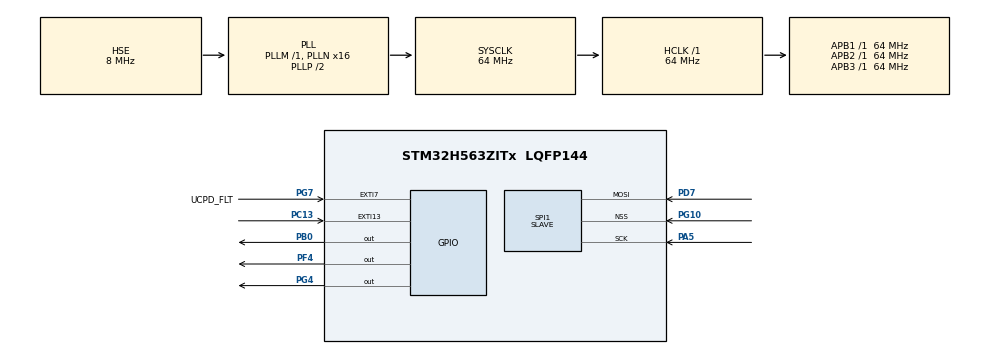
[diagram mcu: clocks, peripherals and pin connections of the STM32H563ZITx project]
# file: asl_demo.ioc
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BOOTPATH.BootPathName=LEGACY
BOOTPATH.UserSelectedBootPath=LEGACY
CORTEX_M33_NS.userName=CORTEX_M33
GPDMA1.DESTINC_GPDMACH0=DMA_DINC_INCREMENTED
GPDMA1.IPHANDLE_GPDMACH0-SIMPLEREQUEST_GPDMACH0=__NULL
GPDMA1.PRIORITY_GPDMACH0=DMA_LOW_PRIORITY_HIGH_WEIGHT
GPDMA1.REQUEST_GPDMACH0=GPDMA1_REQUEST_SPI1_RX
Mcu.Family=STM32H5
Mcu.Name=STM32H563ZITx
Mcu.Package=LQFP144
NVIC.GPDMA1_Channel0_IRQn=true\:0\:0\:false\:false\:true\:false\:true\:true
NVIC.PriorityGroup=NVIC_PRIORITYGROUP_4
PA1.GPIO_Label=RMII_REF_CLK
PA1.GPIO_Mode=GPIO_MODE_AF_PP
PA1.GPIO_PuPd=GPIO_NOPULL
PA1.GPIO_Speed=GPIO_SPEED_FREQ_LOW
PA1.Signal=ETH_REF_CLK
PA11.GPIO_Label=USB_FS_N
PA11.Signal=USB_DM
PA12.GPIO_Label=USB_FS_P
PA12.Signal=USB_DP
PA13(JTMS/SWDIO).GPIO_Label=SWDIO
PA13(JTMS/SWDIO).Signal=DEBUG_JTMS-SWDIO
PA14(JTCK/SWCLK).GPIO_Label=SWCLK
PA14(JTCK/SWCLK).Signal=DEBUG_JTCK-SWCLK
PA15(JTDI).GPIO_Label=T_JTDI
PA15(JTDI).Signal=DEBUG_JTDI
PA2.GPIO_Label=RMII_MDIO
PA2.GPIO_Mode=GPIO_MODE_AF_PP
PA2.GPIO_PuPd=GPIO_NOPULL
PA2.GPIO_Speed=GPIO_SPEED_FREQ_LOW
PA2.Signal=ETH_MDIO
PA4.GPIO_Label=VBUS_SENSE
PA4.Signal=ADCx_INP18
PA5.Mode=RX_Only_Simplex_Unidirect_Slave
PA5.Signal=SPI1_SCK
PA7.GPIO_Label=RMII_CRS_DV
PA7.GPIO_Mode=GPIO_MODE_AF_PP
PA7.GPIO_PuPd=GPIO_NOPULL
PA7.GPIO_Speed=GPIO_SPEED_FREQ_LOW
PA7.Signal=ETH_CRS_DV
PA9.GPIO_Label=UCDP_DBn
PA9.Signal=UCPD1_DB1
PB0.Signal=GPIO_Output
PB13.GPIO_Label=UCPD_CC1
PB13.Signal=UCPD1_CC1
PB14.GPIO_Label=UCPD_CC2
PB14.Signal=UCPD1_CC2
PB15.GPIO_Label=RMII_TXD1
PB15.GPIO_Mode=GPIO_MODE_AF_PP
PB15.GPIO_PuPd=GPIO_NOPULL
PB15.GPIO_Speed=GPIO_SPEED_FREQ_LOW
PB15.Signal=ETH_TXD1
PB3(JTDO/TRACESWO).GPIO_Label=SWO
PB3(JTDO/TRACESWO).Signal=DEBUG_JTDO-SWO
PB6.GPIO_Label=ARD_D1_TX
PB6.Signal=LPUART1_TX
PB7.GPIO_Label=ARD_D0_RX
PB7.Signal=LPUART1_RX
PC1.GPIO_Label=RMII_MDC
PC1.GPIO_Mode=GPIO_MODE_AF_PP
PC1.GPIO_PuPd=GPIO_NOPULL
PC1.GPIO_Speed=GPIO_SPEED_FREQ_LOW
PC1.Signal=ETH_MDC
PC13.Signal=GPXTI13
PC14-OSC32_IN(OSC32_IN).Mode=LSE-External-Oscillator
PC14-OSC32_IN(OSC32_IN).Signal=RCC_OSC32_IN
PC15-OSC32_OUT(OSC32_OUT).Mode=LSE-External-Oscillator
PC15-OSC32_OUT(OSC32_OUT).Signal=RCC_OSC32_OUT
PC4.GPIO_Label=RMII_RXD0
PC4.GPIO_Mode=GPIO_MODE_AF_PP
PC4.GPIO_PuPd=GPIO_NOPULL
PC4.GPIO_Speed=GPIO_SPEED_FREQ_LOW
PC4.Signal=ETH_RXD0
PC5.GPIO_Label=RMII_RXD1
PC5.GPIO_Mode=GPIO_MODE_AF_PP
PC5.GPIO_PuPd=GPIO_NOPULL
PC5.GPIO_Speed=GPIO_SPEED_FREQ_LOW
PC5.Signal=ETH_RXD1
PD7.Mode=RX_Only_Simplex_Unidirect_Slave
PD7.Signal=SPI1_MOSI
PD8.Signal=USART3_TX
PD9.Signal=USART3_RX
PE2.GPIO_Label=TRACE_CK
PE2.Signal=DEBUG_TRACECLK
PE3.GPIO_Label=TRACE_D0
PE3.Signal=DEBUG_TRACED0
PE4.GPIO_Label=TRACE_D1
PE4.Signal=DEBUG_TRACED1
PE5.GPIO_Label=TRACE_D2
PE5.Signal=DEBUG_TRACED2
PE6.GPIO_Label=TRACE_D3
PE6.Signal=DEBUG_TRACED3
PF4.Signal=GPIO_Output
PG10.Mode=NSS_Signal_Hard_Input
PG10.Signal=SPI1_NSS
PG11.GPIO_Label=RMII_TXT_EN
PG11.GPIO_Mode=GPIO_MODE_AF_PP
PG11.GPIO_PuPd=GPIO_NOPULL
PG11.GPIO_Speed=GPIO_SPEED_FREQ_LOW
PG11.Signal=ETH_TX_EN
PG13.GPIO_Label=RMI_TXD0
PG13.GPIO_Mode=GPIO_MODE_AF_PP
PG13.GPIO_PuPd=GPIO_NOPULL
PG13.GPIO_Speed=GPIO_SPEED_FREQ_LOW
PG13.Signal=ETH_TXD0
PG4.Signal=GPIO_Output
PG7.GPIO_Label=UCPD_FLT
PG7.Signal=GPXTI7
PH0-OSC_IN(PH0).GPIO_Label=STLK_MCO
PH0-OSC_IN(PH0).Mode=HSE-External-Clock-Source
PH0-OSC_IN(PH0).Signal=RCC_OSC_IN
ProjectManager.HeapSize=0x200
ProjectManager.StackSize=0x400
ProjectManager.TargetToolchain=STM32CubeIDE
RCC.ADCFreq_Value=64000000
RCC.AHBFreq_Value=64000000
RCC.APB1Freq_Value=64000000
RCC.APB1TimFreq_Value=64000000
RCC.APB2Freq_Value=64000000
RCC.APB2TimFreq_Value=64000000
RCC.APB3Freq_Value=64000000
RCC.CSI_VALUE=4000000
RCC.CortexFreq_Value=64000000
RCC.EPOD_VALUE=8000000
RCC.HCLKFreq_Value=64000000
RCC.HSE_VALUE=8000000
RCC.HSI48_VALUE=48000000
RCC.HSIDiv=RCC_HSI_DIV1
RCC.HSI_VALUE=64000000
RCC.LSIRC_VALUE=32000
RCC.PLL1Q=3
RCC.PLLFRACN=0
RCC.PLLN=16
RCC.PLLSourceVirtual=RCC_PLL1_SOURCE_HSE
RCC.SYSCLKFreq_VALUE=64000000
RCC.SYSCLKSource=RCC_SYSCLKSOURCE_PLLCLK
RCC.USBFreq_Value=48000000
RCC.VCOOutputFreq_Value=128000000
SH.ADCx_INP18.0=ADC1_INP18
SPI1.CLKPolarity=SPI_POLARITY_HIGH
SPI1.DataSize=SPI_DATASIZE_8BIT
SPI1.Direction=SPI_DIRECTION_2LINES_RXONLY
SPI1.Mode=SPI_MODE_SLAVE
SPI1.VirtualNSS=VM_NSSHARD
SPI1.VirtualType=VM_SLAVE
VP_BOOTPATH_VS_BOOTPATH.Mode=BP_Activate
VP_CORTEX_M33_NS_VS_Hclk.Mode=Hclk_Mode
VP_GPDMA1_VS_GPDMACH0.Mode=SIMPLEREQUEST_GPDMACH0
VP_MEMORYMAP_VS_MEMORYMAP.Mode=CurAppReg
VP_PWR_VS_DBSignals.Mode=DisableDeadBatterySignals
VP_PWR_VS_LPOM.Mode=PowerOptimisation
VP_PWR_VS_SECSignals.Mode=Security/Privilege
board=NUCLEO-H563ZI

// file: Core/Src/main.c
/* USER CODE BEGIN Header */
/**
  ******************************************************************************
  * @file           : main.c
  * @brief          : Main program body
  ******************************************************************************
  * @attention
  *
  * Copyright (c) 2025 STMicroelectronics.
  * All rights reserved.
  *
  * This software is licensed under terms that can be found in the LICENSE file
  * in the root directory of this software component.
  * If no LICENSE file comes with this software, it is provided AS-IS.
  *
  ******************************************************************************
  */
/* USER CODE END Header */
#include "main.h"
#include "test_data.h"
#include "kiss_fftr.h"

/* USER CODE BEGIN PTD */
typedef struct coords_3D_t {
    float x;
    float y;
    float z;
} coords_3D_t;

typedef struct angle_pair_t {
    float az;
    float el;
} angle_pair_t;

/**
 * @brief this struct holds TDoA between reference mic (0th idx) and assigned mic (mix_idx);
 *        such implementation helps reducing memory cost of program
 *
 * @param tau calculated relative TDoA
 * @param mic_idx microphone index
 * @param angle_pair_idx indicates for which DoA angles pair {az, el} indeex in *all_possible_doas_lut*
 *                       this tau is relevant
 */
typedef struct tdoa_per_mic_per_doa_t {
    float tau;
    uint8_t mic_idx;
    uint16_t angle_pair_idx;
} tdoa_per_mic_per_doa_t;

/**
 * @brief enumerator used to indicate whether data acquisition from SPI was successful or not
 */
typedef enum spi_mic_acq_enum_t {
    MIC_ACQ_OK = 0,
    MIC_ACQ_ERR = 1
} spi_mic_acq_enum_t;

/* USER CODE END PTD */

/* USER CODE BEGIN PD */
#define M 16                    /* num of mics */
#define Ny 4                    /* num of mics in y column */
#define Nz 4                    /* num of mics in z row */
#define C 343                   /* speed of sound in m/s */
#define d 0.042                 /* spacing between mics */
#define F_MIN 300               /* minimum freq considered in Hz */
#define F_MAX 3000              /* minimum freq considered in Hz */
#define F_S 16000               /* incoming signal sampling rate */
#define L 1024                   /* x_m microphone's signal frame length - TO BE DETERMINED */
#define R 10                    /* angualar grid resolution in degrees */
#define AZ_LOW -90              /* min azimuth angle conidered in degrees */
#define AZ_HIGH 90              /* max azimuth angle conidered in degrees */
#define EL_LOW -45              /* min elevation angle considered in degrees */
#define EL_HIGH 45              /* max elevation angle considered in degrees */
#define PI 3.141592653589793238 /* pi approximation */
#define EPS 0.000000001           /* epsilon value for numerical stability */

#define F_NYQ (F_S / 2)                                     /* Nyquist frequency */
#define REAL_FFT_LEN ((L/2) + 1)                            /* length of the output of real-valued signal's FFT, which is of use */
#define ALL_AZIMUTHS ((AZ_HIGH - AZ_LOW)/R + 1)             /* size of azimuth grid */
#define ALL_ELEVATIONS ((EL_HIGH - EL_LOW)/R + 1)           /* size of elevation grid */
#define ALL_POSSIBLE_DOAS (ALL_AZIMUTHS * ALL_ELEVATIONS)   /* size of all DoAs grid (i.e. every possible pair of {az,el}) */

#define CIC_GAIN_F ((float) (1ULL << 30))  /* CIC has its internal gain like (RM)^N, we have (64*1)^5 = 2^30 */
/*
  CIC params: stages 5, diff delay 1, dec ratio 64
  TODO:
  - add windowing b4 fft
  - remove DC??? depends if it's zero-mean
  - add scaling down -- quantization mode: full precision
  -
*/
/* USER CODE END PD */

SPI_HandleTypeDef hspi1;
DMA_HandleTypeDef handle_GPDMA1_Channel0;

/* USER CODE BEGIN PV */
/**
 * @brief simple enum for SPI status indications
 */
enum { SPI_CPLT, SPI_BUSY } spi_status;

coords_3D_t mics_positions[M] = {
  { 0, (-2.0f)*d, 2*d }, { 0, (-2.0f)*d, d }, {  0, (-2.0f)*d, (-1.0f)*d }, {  0, (-2.0f)*d, (-2.0f)*d },
  { 0, (-1.0f)*d, 2*d }, { 0, (-1.0f)*d, d }, {  0, (-1.0f)*d, (-1.0f)*d }, {  0, (-1.0f)*d, (-2.0f)*d },
  { 0,         d, 2*d }, { 0,         d, d }, {  0,         d, (-1.0f)*d }, {  0,         d, (-2.0f)*d },
  { 0,  (2.0f)*d, 2*d }, { 0,  (2.0f)*d, d }, {  0,  (2.0f)*d, (-1.0f)*d }, {  0,  (2.0f)*d, (-2.0f)*d }
};
/**
 * @brief a look-up table storing every possible DoA as pair {az, el}
 */
static angle_pair_t all_possible_doas_lut[ALL_POSSIBLE_DOAS]; //<< 2,888 B
/**
 * @brief a look-up table storing every mic's relative TDoA for every possible DoA
 *        in relation to 0th microphone - this way we save memory in trade for slightly
 *        more calculations in the run-time
 */
static tdoa_per_mic_per_doa_t all_relative_tdoas_lut[ALL_POSSIBLE_DOAS * M]; //<< 46,208 B with padding, 40,432 B optimized

/**
 * @brief a look-up table storing every frequency bin of interest
 */
static float fft_bins_lut[REAL_FFT_LEN];//<< 2,052 B
/**
 * @brief indicators of minimum and maximum bins of FFT for freqs of interest
 */
static uint16_t fft_bin_low = 0, fft_bin_high = 0;//<< 2 * 2 B = 4 B

/**
 * @brief kiss_fft library config field, used to run FFT - this is a real-input FFT, outputs cpx
 */
kiss_fftr_cfg kissfftrcfg = NULL; //<< this is a ptr, idk how much it allocs

/**
 * @brief buffer for incoming mic data from SPI
 */
uint32_t spi_data_buff[M * L] = { 0U };
#ifndef TEST_DATA_H
/**
 * @brief preallocated buffer for incoming real signal data from mics (thru SPI)
 */
float mic_data_buff[M][L] = { 0 };//<<  65,536 B
#endif

/**
 * @brief preallocated buffer for incoming real signal data FFT
 */
static kiss_fft_cpx mic_data_fft_buff[M][REAL_FFT_LEN]; //<< 65,664 B

/**
 * @brief preallocated buffer for SRP-PHAT map (as function of DoA angles pair)
 *
 */
static float srp_phat_map_per_doa[ALL_POSSIBLE_DOAS];//<< 1,444 B

/* USER CODE END PV */

void SystemClock_Config(void);
static void MX_GPIO_Init(void);
static void MX_GPDMA1_Init(void);
static void MX_SPI1_Init(void);

/* USER CODE BEGIN 0 */
/**
 * @brief helper function for data buffer conversion process (SPI(CIC): uint32_t -> kissfft: float32_t)
 *
 */
void convert_buffer(void) {
    static int32_t tmp_24bit = 0;

    for (uint32_t l = 0U; l < L; l++) {
        for (uint32_t m = 0U; m < M; m++) {
            // spi_data_buff[m + M * l] <--> mic_data_buff[m][l]
            /* get rid of the last 8-bit marker */
            tmp_24bit = (int32_t) (spi_data_buff[m + M * l] >> 8);

            /* extend the sign of CIC sample */
            if (tmp_24bit & 0x00800000) {
                tmp_24bit |= 0xFF000000;
            }

            /* compensate the CIC gain - from vivado it seems to be not done internally */
            mic_data_buff[m][l] = ((float) tmp_24bit) / CIC_GAIN_F;
        }
    }
}

/**
 * @brief basic impl of conversion from degrees to radians
 *
 * @param arg_deg argument in degrees
 * @return float argument converted to radians
 */
static inline float deg2rad(float arg_deg) {
    return (arg_deg * (float)(PI / 180.0f));
}

/**
 * @brief basic impl of conversion from radians to degrees
 *
 * @param arg_rad argument in radians
 * @return float argument converted to degrees
 */
static inline float rad2deg(float arg_rad) {
    return (arg_rad * (float)(180.0f / PI));
}

/**
 * @brief this function prepares look-up tables: *all_possible_doas_lut* and *all_relative_tdoas_lut*
 */
static void prepare_luts(void) {
    coords_3D_t sphere_vec;
    uint16_t doa_idx = 0;
    uint32_t tdoa_idx = 0;
    uint16_t el_idx = 0;
    uint8_t mic_idx = 0;
    float az_rad = 0.0f;
    float el_rad = 0.0f;

    /* for every azimuth degree step */
    for (uint16_t az_idx = 0; az_idx < ALL_AZIMUTHS; az_idx++) {
        /* and for every elevation degree step */
        for (el_idx = 0; el_idx < ALL_ELEVATIONS; el_idx++) {
            /* define an entry in degree-grid */
            all_possible_doas_lut[doa_idx].az = (float) (AZ_LOW + (az_idx * R));
            all_possible_doas_lut[doa_idx].el = (float) (EL_LOW + (el_idx * R));

            /* Convert to radians ONCE for this DoA */
            az_rad = deg2rad(all_possible_doas_lut[doa_idx].az);
            el_rad = deg2rad(all_possible_doas_lut[doa_idx].el);

            /* 0th element is our ref, so it's zero all the time */
            all_relative_tdoas_lut[tdoa_idx].angle_pair_idx = doa_idx;
            all_relative_tdoas_lut[tdoa_idx].mic_idx = (uint8_t) 0;
            all_relative_tdoas_lut[tdoa_idx].tau = (float) 0;
            tdoa_idx++;

            /* Calculate spherical direction vector according to MATLAB convention:
             * d_hat(1) = cos(theta) * cos(phi)   where theta=elevation, phi=azimuth
             * d_hat(2) = cos(theta) * sin(phi)
             * d_hat(3) = sin(theta)
             */
            sphere_vec.x = cosf(el_rad) * cosf(az_rad);
            sphere_vec.y = cosf(el_rad) * sinf(az_rad);
            sphere_vec.z = sinf(el_rad);

            /* every other mic's relative TDoA is calculated relatively to 0th mic */
            for (mic_idx = 1; mic_idx < M; mic_idx++) {
                all_relative_tdoas_lut[tdoa_idx].angle_pair_idx = doa_idx;
                all_relative_tdoas_lut[tdoa_idx].mic_idx = mic_idx;
                all_relative_tdoas_lut[tdoa_idx].tau = (float) (
                    (sphere_vec.x * (mics_positions[mic_idx].x - mics_positions[0].x))
                  + (sphere_vec.y * (mics_positions[mic_idx].y - mics_positions[0].y))
                  + (sphere_vec.z * (mics_positions[mic_idx].z - mics_positions[0].z))
                ) / ((float) C);
                tdoa_idx++;
            }

            doa_idx++;
        }
    }

    /* prepare every FFT bin and indicators */
    fft_bin_low = 0;
    fft_bin_high = 0;

    for (uint16_t k = 0; k < REAL_FFT_LEN; k++) {
        fft_bins_lut[k] = k * ((float)F_S / (float)L);

        // Count bins below F_MIN
        if (fft_bins_lut[k] < F_MIN) {
            fft_bin_low++;
        }

        // Count bins up to AND including F_MAX
        if (fft_bins_lut[k] <= F_MAX) {
            fft_bin_high = k + 1;  // Set to NEXT index (for < comparison in loop)
        }
    }

    // Debug output
    // printf("FFT bins: low=%d (%.1f Hz), high=%d (%.1f Hz)\n",
    //        fft_bin_low, fft_bins_lut[fft_bin_low],
    //        fft_bin_high-1, fft_bins_lut[fft_bin_high-1]);
}

/**
 * @brief helper function to run FFT for real-valued signals acquired from mics
 *
 */
static void run_rfft(void) {
    for (uint8_t m = 0; m < M; m++) {
        kiss_fftr(kissfftrcfg, &mic_data_buff[m][0], &mic_data_fft_buff[m][0]);
    }
}

/**
 * @brief absolute value of complex number in kiss_fft_cpx convention
 *
 * @param c complex to compute abs from
 * @return kiss_fft_scalar real-valued abs(c)
 */
static kiss_fft_scalar cpx_abs(const kiss_fft_cpx c) {
    return sqrtf((c.r * c.r) + (c.i * c.i));
}

/**
 * @brief complex conjugation in kiss_fft_cpx convention
 *
 * @param c complex to compute conj from
 * @return kiss_fft_cpx complex-valued conj(c)
 */
static kiss_fft_cpx cpx_conj(const kiss_fft_cpx c) {
    kiss_fft_cpx ret = {
        .r = (kiss_fft_scalar) c.r,
        .i = (kiss_fft_scalar)((-1) * c.i)
    };
    return ret;
}

/**
 * @brief complex multiplication of two complex numbers in kiss_fft_cpx convention
 *
 * @param a first complex
 * @param b second complex
 * @return kiss_fft_cpx complex-valued result of a*b = (a.r + a.i) * (b.r + b.i) = ...
 */
static kiss_fft_cpx cpx_mult(const kiss_fft_cpx a, const kiss_fft_cpx b) {
    kiss_fft_cpx ret = {
        .r = (kiss_fft_scalar) ((a.r * b.r) - (a.i * b.i)),
        .i = (kiss_fft_scalar) ((a.r * b.i) + (a.i * b.r))
    };
    return ret;
}

/**
 * @brief implements the proper SRP-PHAT algorithm search and fills srp_phat_map_per_doa array
 *        with computed values - after this call, the array maximum's index is the same
 *        as estimated DoA's in all_possible_doas_lut array
 */
void srp_phat(void) {
    kiss_fft_cpx gcc_phat_sum;
    kiss_fft_cpx tmp_cross_spec;
    float tmp_cross_spec_abs = 0;
    float tmp_theta = 0;
    float cos_theta = 0;
    float sin_theta = 0;
    float tau_ml = 0;
    uint16_t doa_idx = 0;
    uint32_t doa_base_idx = 0;

    // Initialize map
    for (uint16_t i = 0; i < ALL_POSSIBLE_DOAS; i++) {
        srp_phat_map_per_doa[i] = 0.0f;
    }

    /* For each DoA... */
    for (uint16_t doa = 0; doa < ALL_POSSIBLE_DOAS; doa++) {
        // Calculate base index for this DoA in the TDoA LUT
        doa_base_idx = (uint32_t)doa * (uint32_t)M;

        /* For each unique microphone pair (m, l) where l > m */
        for (uint8_t mic_m = 0; mic_m < M; mic_m++) {
            for (uint8_t mic_l = mic_m + 1; mic_l < M; mic_l++) {

                gcc_phat_sum.r = 0.0f;
                gcc_phat_sum.i = 0.0f;

                /* TDoA for this particular pair and DoA */
                tau_ml = all_relative_tdoas_lut[doa_base_idx + mic_l].tau
                       - all_relative_tdoas_lut[doa_base_idx + mic_m].tau;

                /* For each frequency bin in [F_MIN, F_MAX] */
                for (uint16_t k = fft_bin_low; k < fft_bin_high; k++) {
                    // Cross-spectrum
                    tmp_cross_spec = cpx_mult(mic_data_fft_buff[mic_l][k],
                                              cpx_conj(mic_data_fft_buff[mic_m][k]));
                    tmp_cross_spec_abs = cpx_abs(tmp_cross_spec);

                    /* Enter if magnitude is non-zero */
                    if (tmp_cross_spec_abs > EPS) {
                        /* GCC-PHAT: normalize by magnitude */
                        tmp_cross_spec.r /= tmp_cross_spec_abs;
                        tmp_cross_spec.i /= tmp_cross_spec_abs;

                        /* Steering vector: e^(j * 2 * pi * f * tau) */
                        tmp_theta = 2.0f * (float)PI * fft_bins_lut[k] * tau_ml;
                        cos_theta = cosf(tmp_theta);
                        sin_theta = sinf(tmp_theta);

                        /* Multiply GCC-PHAT with steering vector */
                        gcc_phat_sum.r += tmp_cross_spec.r * cos_theta - tmp_cross_spec.i * sin_theta;
                        gcc_phat_sum.i += tmp_cross_spec.r * sin_theta + tmp_cross_spec.i * cos_theta;
                    }
                }

                /* Add power to SRP map for this DoA */
                srp_phat_map_per_doa[doa] += (gcc_phat_sum.r * gcc_phat_sum.r)
                                            + (gcc_phat_sum.i * gcc_phat_sum.i);
            }
        }
    }
}

/**
 * @brief this func returns index of the found maximum in already-computed SRP-PHAT map
 *
 * @return uint32_t index of the found maximum
 */
uint32_t find_max_doa_idx(void) {
    uint32_t ret = 0;
    for (uint32_t i = 0; i < ALL_POSSIBLE_DOAS; i++) {
        if (srp_phat_map_per_doa[i] > srp_phat_map_per_doa[ret]) {
            ret = i;
        }
    }

    return ret;
}

/**
 * @brief custom handler for full buffer DMA event
 *
 * @param hspi SPI handler
 */
void HAL_SPI_RxCpltCallback(SPI_HandleTypeDef *hspi) {
	  spi_status = SPI_CPLT;
}
/* USER CODE END 0 */

int main(void)
{

  /* MCU Configuration--------------------------------------------------------*/

  /* Reset of all peripherals, Initializes the Flash interface and the Systick. */
  HAL_Init();

  /* Configure the system clock */
  SystemClock_Config();

  /* USER CODE BEGIN SysInit */
  prepare_luts();
  #ifndef TEST_DATA_H
  	  spi_status = SPI_BUSY;
  #else
  	  spi_status = SPI_CPLT;
  #endif

  /* USER CODE END SysInit */

  /* Initialize all configured peripherals */
  MX_GPIO_Init();
  MX_GPDMA1_Init();
  MX_SPI1_Init();
  /* USER CODE BEGIN 2 */
  kissfftrcfg = kiss_fftr_alloc(L, 0, NULL, NULL);

  if (kissfftrcfg == NULL) {
	  HardFault_Handler();
  }

  #ifndef TEST_DATA_H
    HAL_SPI_Receive_DMA(&hspi1, (uint8_t*) spi_data_buff, (uint16_t) (M * L * sizeof(uint32_t)));
  #endif

  uint32_t doa_idx = 0U;
  angle_pair_t doa_est;
  /* USER CODE END 2 */

  /* Infinite loop */
  /* USER CODE BEGIN WHILE */
  while (1)
  {
      if (spi_status == SPI_CPLT) {
		  #ifndef TEST_DATA_H
             convert_buffer();
          #endif
          run_rfft();
          srp_phat();
          doa_idx = find_max_doa_idx();
          doa_est = all_possible_doas_lut[doa_idx];

		  #ifndef TEST_DATA_H
              spi_status = SPI_BUSY;
              HAL_SPI_Receive_DMA(&hspi1, (uint8_t*) spi_data_buff, (uint16_t) (M * L * sizeof(uint32_t)));
		  #endif
      }
    /* USER CODE END WHILE */

  }
}

void SystemClock_Config(void)
{
  RCC_OscInitTypeDef RCC_OscInitStruct = {0};
  RCC_ClkInitTypeDef RCC_ClkInitStruct = {0};

  /** Configure the main internal regulator output voltage
  */
  __HAL_PWR_VOLTAGESCALING_CONFIG(PWR_REGULATOR_VOLTAGE_SCALE3);

  while(!__HAL_PWR_GET_FLAG(PWR_FLAG_VOSRDY)) {}

  /** Initializes the RCC Oscillators according to the specified parameters
  * in the RCC_OscInitTypeDef structure.
  */
  RCC_OscInitStruct.OscillatorType = RCC_OSCILLATORTYPE_HSE;
  RCC_OscInitStruct.HSEState = RCC_HSE_BYPASS;
  RCC_OscInitStruct.PLL.PLLState = RCC_PLL_ON;
  RCC_OscInitStruct.PLL.PLLSource = RCC_PLL1_SOURCE_HSE;
  RCC_OscInitStruct.PLL.PLLM = 1;
  RCC_OscInitStruct.PLL.PLLN = 16;
  RCC_OscInitStruct.PLL.PLLP = 2;
  RCC_OscInitStruct.PLL.PLLQ = 3;
  RCC_OscInitStruct.PLL.PLLR = 2;
  RCC_OscInitStruct.PLL.PLLRGE = RCC_PLL1_VCIRANGE_3;
  RCC_OscInitStruct.PLL.PLLVCOSEL = RCC_PLL1_VCORANGE_WIDE;
  RCC_OscInitStruct.PLL.PLLFRACN = 0;
  if (HAL_RCC_OscConfig(&RCC_OscInitStruct) != HAL_OK)
  {
    Error_Handler();
  }

  /** Initializes the CPU, AHB and APB buses clocks
  */
  RCC_ClkInitStruct.ClockType = RCC_CLOCKTYPE_HCLK|RCC_CLOCKTYPE_SYSCLK
                              |RCC_CLOCKTYPE_PCLK1|RCC_CLOCKTYPE_PCLK2
                              |RCC_CLOCKTYPE_PCLK3;
  RCC_ClkInitStruct.SYSCLKSource = RCC_SYSCLKSOURCE_PLLCLK;
  RCC_ClkInitStruct.AHBCLKDivider = RCC_SYSCLK_DIV1;
  RCC_ClkInitStruct.APB1CLKDivider = RCC_HCLK_DIV1;
  RCC_ClkInitStruct.APB2CLKDivider = RCC_HCLK_DIV1;
  RCC_ClkInitStruct.APB3CLKDivider = RCC_HCLK_DIV1;

  if (HAL_RCC_ClockConfig(&RCC_ClkInitStruct, FLASH_LATENCY_3) != HAL_OK)
  {
    Error_Handler();
  }

  /** Configure the programming delay
  */
  __HAL_FLASH_SET_PROGRAM_DELAY(FLASH_PROGRAMMING_DELAY_1);
}

static void MX_GPDMA1_Init(void)
{

  /* Peripheral clock enable */
  __HAL_RCC_GPDMA1_CLK_ENABLE();

  /* GPDMA1 interrupt Init */
    HAL_NVIC_SetPriority(GPDMA1_Channel0_IRQn, 0, 0);
    HAL_NVIC_EnableIRQ(GPDMA1_Channel0_IRQn);

}

static void MX_SPI1_Init(void)
{

  /* SPI1 parameter configuration*/
  hspi1.Instance = SPI1;
  hspi1.Init.Mode = SPI_MODE_SLAVE;
  hspi1.Init.Direction = SPI_DIRECTION_2LINES_RXONLY;
  hspi1.Init.DataSize = SPI_DATASIZE_8BIT;
  hspi1.Init.CLKPolarity = SPI_POLARITY_HIGH;
  hspi1.Init.CLKPhase = SPI_PHASE_1EDGE;
  hspi1.Init.NSS = SPI_NSS_HARD_INPUT;
  hspi1.Init.FirstBit = SPI_FIRSTBIT_MSB;
  hspi1.Init.TIMode = SPI_TIMODE_DISABLE;
  hspi1.Init.CRCCalculation = SPI_CRCCALCULATION_DISABLE;
  hspi1.Init.CRCPolynomial = 0x7;
  hspi1.Init.NSSPMode = SPI_NSS_PULSE_DISABLE;
  hspi1.Init.NSSPolarity = SPI_NSS_POLARITY_LOW;
  hspi1.Init.FifoThreshold = SPI_FIFO_THRESHOLD_01DATA;
  hspi1.Init.MasterSSIdleness = SPI_MASTER_SS_IDLENESS_00CYCLE;
  hspi1.Init.MasterInterDataIdleness = SPI_MASTER_INTERDATA_IDLENESS_00CYCLE;
  hspi1.Init.MasterReceiverAutoSusp = SPI_MASTER_RX_AUTOSUSP_DISABLE;
  hspi1.Init.MasterKeepIOState = SPI_MASTER_KEEP_IO_STATE_DISABLE;
  hspi1.Init.IOSwap = SPI_IO_SWAP_DISABLE;
  hspi1.Init.ReadyMasterManagement = SPI_RDY_MASTER_MANAGEMENT_INTERNALLY;
  hspi1.Init.ReadyPolarity = SPI_RDY_POLARITY_HIGH;
  if (HAL_SPI_Init(&hspi1) != HAL_OK)
  {
    Error_Handler();
  }

}

static void MX_GPIO_Init(void)
{
  GPIO_InitTypeDef GPIO_InitStruct = {0};

  /* GPIO Ports Clock Enable */
  __HAL_RCC_GPIOE_CLK_ENABLE();
  __HAL_RCC_GPIOC_CLK_ENABLE();
  __HAL_RCC_GPIOF_CLK_ENABLE();
  __HAL_RCC_GPIOH_CLK_ENABLE();
  __HAL_RCC_GPIOA_CLK_ENABLE();
  __HAL_RCC_GPIOB_CLK_ENABLE();
  __HAL_RCC_GPIOD_CLK_ENABLE();
  __HAL_RCC_GPIOG_CLK_ENABLE();

  /*Configure GPIO pin Output Level */
  HAL_GPIO_WritePin(GPIOF, GPIO_PIN_4, GPIO_PIN_RESET);

  /*Configure GPIO pin Output Level */
  HAL_GPIO_WritePin(GPIOB, GPIO_PIN_0, GPIO_PIN_RESET);

  /*Configure GPIO pin Output Level */
  HAL_GPIO_WritePin(GPIOG, GPIO_PIN_4, GPIO_PIN_RESET);

  /*Configure GPIO pin : PC13 */
  GPIO_InitStruct.Pin = GPIO_PIN_13;
  GPIO_InitStruct.Mode = GPIO_MODE_IT_RISING;
  GPIO_InitStruct.Pull = GPIO_NOPULL;
  HAL_GPIO_Init(GPIOC, &GPIO_InitStruct);

  /*Configure GPIO pin : PF4 */
  GPIO_InitStruct.Pin = GPIO_PIN_4;
  GPIO_InitStruct.Mode = GPIO_MODE_OUTPUT_PP;
  GPIO_InitStruct.Pull = GPIO_NOPULL;
  GPIO_InitStruct.Speed = GPIO_SPEED_FREQ_LOW;
  HAL_GPIO_Init(GPIOF, &GPIO_InitStruct);

  /*Configure GPIO pins : RMII_MDC_Pin RMII_RXD0_Pin RMII_RXD1_Pin */
  GPIO_InitStruct.Pin = RMII_MDC_Pin|RMII_RXD0_Pin|RMII_RXD1_Pin;
  GPIO_InitStruct.Mode = GPIO_MODE_AF_PP;
  GPIO_InitStruct.Pull = GPIO_NOPULL;
  GPIO_InitStruct.Speed = GPIO_SPEED_FREQ_HIGH;
  GPIO_InitStruct.Alternate = GPIO_AF11_ETH;
  HAL_GPIO_Init(GPIOC, &GPIO_InitStruct);

  /*Configure GPIO pins : RMII_REF_CLK_Pin RMII_MDIO_Pin RMII_CRS_DV_Pin */
  GPIO_InitStruct.Pin = RMII_REF_CLK_Pin|RMII_MDIO_Pin|RMII_CRS_DV_Pin;
  GPIO_InitStruct.Mode = GPIO_MODE_AF_PP;
  GPIO_InitStruct.Pull = GPIO_NOPULL;
  GPIO_InitStruct.Speed = GPIO_SPEED_FREQ_HIGH;
  GPIO_InitStruct.Alternate = GPIO_AF11_ETH;
  HAL_GPIO_Init(GPIOA, &GPIO_InitStruct);

  /*Configure GPIO pin : VBUS_SENSE_Pin */
  GPIO_InitStruct.Pin = VBUS_SENSE_Pin;
  GPIO_InitStruct.Mode = GPIO_MODE_ANALOG;
  GPIO_InitStruct.Pull = GPIO_NOPULL;
  HAL_GPIO_Init(VBUS_SENSE_GPIO_Port, &GPIO_InitStruct);

  /*Configure GPIO pin : PB0 */
  GPIO_InitStruct.Pin = GPIO_PIN_0;
  GPIO_InitStruct.Mode = GPIO_MODE_OUTPUT_PP;
  GPIO_InitStruct.Pull = GPIO_NOPULL;
  GPIO_InitStruct.Speed = GPIO_SPEED_FREQ_LOW;
  HAL_GPIO_Init(GPIOB, &GPIO_InitStruct);

  /*Configure GPIO pins : UCPD_CC1_Pin UCPD_CC2_Pin */
  GPIO_InitStruct.Pin = UCPD_CC1_Pin|UCPD_CC2_Pin;
  GPIO_InitStruct.Mode = GPIO_MODE_ANALOG;
  GPIO_InitStruct.Pull = GPIO_NOPULL;
  HAL_GPIO_Init(GPIOB, &GPIO_InitStruct);

  /*Configure GPIO pin : RMII_TXD1_Pin */
  GPIO_InitStruct.Pin = RMII_TXD1_Pin;
  GPIO_InitStruct.Mode = GPIO_MODE_AF_PP;
  GPIO_InitStruct.Pull = GPIO_NOPULL;
  GPIO_InitStruct.Speed = GPIO_SPEED_FREQ_HIGH;
  GPIO_InitStruct.Alternate = GPIO_AF11_ETH;
  HAL_GPIO_Init(RMII_TXD1_GPIO_Port, &GPIO_InitStruct);

  /*Configure GPIO pins : PD8 PD9 */
  GPIO_InitStruct.Pin = GPIO_PIN_8|GPIO_PIN_9;
  GPIO_InitStruct.Mode = GPIO_MODE_AF_PP;
  GPIO_InitStruct.Pull = GPIO_NOPULL;
  GPIO_InitStruct.Speed = GPIO_SPEED_FREQ_LOW;
  GPIO_InitStruct.Alternate = GPIO_AF7_USART3;
  HAL_GPIO_Init(GPIOD, &GPIO_InitStruct);

  /*Configure GPIO pin : PG4 */
  GPIO_InitStruct.Pin = GPIO_PIN_4;
  GPIO_InitStruct.Mode = GPIO_MODE_OUTPUT_PP;
  GPIO_InitStruct.Pull = GPIO_NOPULL;
  GPIO_InitStruct.Speed = GPIO_SPEED_FREQ_LOW;
  HAL_GPIO_Init(GPIOG, &GPIO_InitStruct);

  /*Configure GPIO pin : UCPD_FLT_Pin */
  GPIO_InitStruct.Pin = UCPD_FLT_Pin;
  GPIO_InitStruct.Mode = GPIO_MODE_IT_RISING;
  GPIO_InitStruct.Pull = GPIO_NOPULL;
  HAL_GPIO_Init(UCPD_FLT_GPIO_Port, &GPIO_InitStruct);

  /*Configure GPIO pins : USB_FS_N_Pin USB_FS_P_Pin */
  GPIO_InitStruct.Pin = USB_FS_N_Pin|USB_FS_P_Pin;
  GPIO_InitStruct.Mode = GPIO_MODE_AF_PP;
  GPIO_InitStruct.Pull = GPIO_NOPULL;
  GPIO_InitStruct.Speed = GPIO_SPEED_FREQ_LOW;
  GPIO_InitStruct.Alternate = GPIO_AF10_USB;
  HAL_GPIO_Init(GPIOA, &GPIO_InitStruct);

  /*Configure GPIO pins : RMII_TXT_EN_Pin RMI_TXD0_Pin */
  GPIO_InitStruct.Pin = RMII_TXT_EN_Pin|RMI_TXD0_Pin;
  GPIO_InitStruct.Mode = GPIO_MODE_AF_PP;
  GPIO_InitStruct.Pull = GPIO_NOPULL;
  GPIO_InitStruct.Speed = GPIO_SPEED_FREQ_HIGH;
  GPIO_InitStruct.Alternate = GPIO_AF11_ETH;
  HAL_GPIO_Init(GPIOG, &GPIO_InitStruct);

  /*Configure GPIO pins : ARD_D1_TX_Pin ARD_D0_RX_Pin */
  GPIO_InitStruct.Pin = ARD_D1_TX_Pin|ARD_D0_RX_Pin;
  GPIO_InitStruct.Mode = GPIO_MODE_AF_PP;
  GPIO_InitStruct.Pull = GPIO_NOPULL;
  GPIO_InitStruct.Speed = GPIO_SPEED_FREQ_LOW;
  GPIO_InitStruct.Alternate = GPIO_AF8_LPUART1;
  HAL_GPIO_Init(GPIOB, &GPIO_InitStruct);

}

void Error_Handler(void)
{
  __disable_irq();
  while (1)
  {
  }
}
